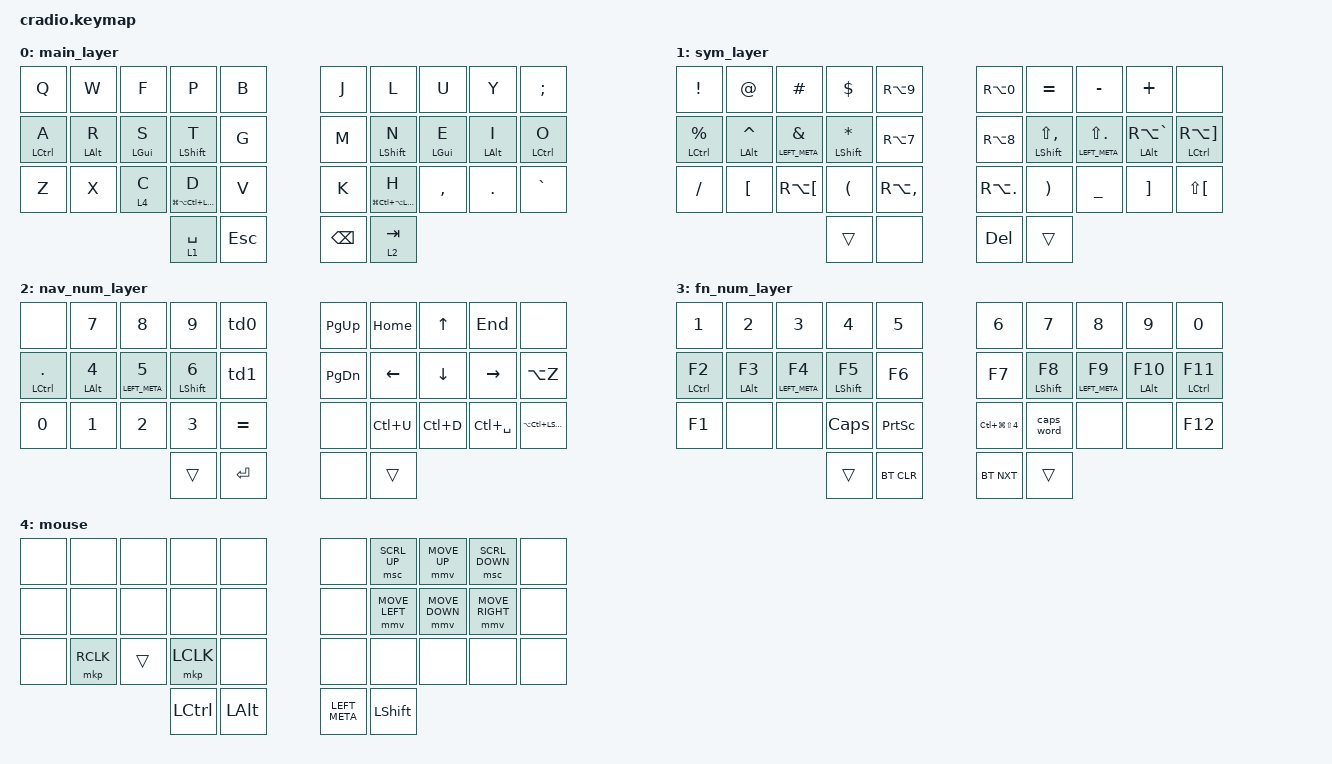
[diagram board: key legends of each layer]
// Copyright (c) 2022 The ZMK Contributors
// SPDX-License-Identifier: MIT

#define ZMK_POINTING_DEFAULT_MOVE_VAL 1500  // default: 600
#define ZMK_POINTING_DEFAULT_SCRL_VAL 20    // default: 10

#include <behaviors.dtsi>
#include <dt-bindings/zmk/bt.h>
#include <dt-bindings/zmk/keys.h>
#include <dt-bindings/zmk/pointing.h>

/ {
    behaviors {
        htl: hold_tap_left {
            compatible = "zmk,behavior-hold-tap";
            #binding-cells = <2>;
            flavor = "balanced";
            tapping-term-ms = <180>;
            quick-tap-ms = <150>;
            require-prior-idle-ms = <100>;
            bindings = <&kp>, <&kp>;

            hold-trigger-key-positions = <5 6 7 8 9 15 16 17 18 19 25 26 27 28 29>;
            hold-trigger-on-release;
        };

        htr: hold_tap_right {
            compatible = "zmk,behavior-hold-tap";
            #binding-cells = <2>;
            flavor = "balanced";
            tapping-term-ms = <180>;
            quick-tap-ms = <150>;
            require-prior-idle-ms = <100>;
            bindings = <&kp>, <&kp>;

            hold-trigger-key-positions = <0 1 2 3 4 10 11 12 13 14 20 21 22 23 24>;
            hold-trigger-on-release;
        };

        ltlr: layer_tap_left_right {
            compatible = "zmk,behavior-hold-tap";
            #binding-cells = <2>;
            flavor = "balanced";
            tapping-term-ms = <180>;
            quick-tap-ms = <150>;
            require-prior-idle-ms = <100>;
            bindings = <&mo>, <&kp>;
        };

        td0: tap_dance_plus_mult {
            compatible = "zmk,behavior-tap-dance";
            #binding-cells = <0>;
            tapping-term-ms = <180>;
            bindings = <&kp KP_PLUS>, <&kp KP_MULTIPLY>;
        };

        td1: tap_dance_minus_div {
            compatible = "zmk,behavior-tap-dance";
            #binding-cells = <0>;
            tapping-term-ms = <180>;
            bindings = <&kp KP_MINUS>, <&kp KP_DIVIDE>;
        };
    };

    conditional_layers {
        compatible = "zmk,conditional-layers";

        fn_num_layer {
            if-layers = <1 2>;
            then-layer = <3>;
        };
    };

    keymap {
        compatible = "zmk,keymap";

        main_layer {
            bindings = <
&kp Q         &kp W        &kp F        &kp P                          &kp B      &kp J     &kp L                          &kp U        &kp Y        &kp SEMICOLON
&htl LCTRL A  &htl LALT R  &htl LGUI S  &htl LSHFT T                   &kp G      &kp M     &htr LSHFT N                   &htr LGUI E  &htr LALT I  &htr LCTRL O
&kp Z         &kp X        &ltlr 4 C    &htl LG(LA(LC(LEFT_SHIFT))) D  &kp V      &kp K     &htr LG(LC(LA(LEFT_SHIFT))) H  &kp COMMA    &kp PERIOD   &kp GRAVE
                                        &ltlr 1 SPACE                  &kp ESC    &kp BSPC  &ltlr 2 TAB
            >;
        };

        sym_layer {
            bindings = <
&kp EXCL          &kp AT               &kp HASH              &kp DLLR              &kp RA(N9)       &kp RA(N0)      &kp EQUAL                  &kp MINUS                  &kp PLUS                 &none
&htl LCTRL PRCNT  &htl LEFT_ALT CARET  &htl LEFT_META AMPS   &htl LEFT_SHIFT STAR  &kp RA(N7)       &kp RA(N8)      &htr LEFT_SHIFT LS(COMMA)  &htr LEFT_META LS(PERIOD)  &htr LEFT_ALT RA(GRAVE)  &htr LCTRL RA(RIGHT_BRACKET)
&kp SLASH         &kp LEFT_BRACKET     &kp RA(LEFT_BRACKET)  &kp LPAR              &kp RA(COMMA)    &kp RA(PERIOD)  &kp RIGHT_PARENTHESIS      &kp UNDER                  &kp RIGHT_BRACKET        &kp LS(LEFT_BRACKET)
                                                             &trans                &none            &kp DELETE      &trans
            >;
        };

        nav_num_layer {
            bindings = <
&none           &kp N7        &kp N8             &kp N9              &td0         &kp PAGE_UP    &kp HOME   &kp UP     &kp END        &none
&htl LCTRL DOT  &htl LALT N4  &htl LEFT_META N5  &htl LEFT_SHIFT N6  &td1         &kp PAGE_DOWN  &kp LEFT   &kp DOWN   &kp RIGHT      &kp LA(Z)
&kp N0          &kp N1        &kp N2             &kp N3              &kp EQUAL    &none          &kp LC(U)  &kp LC(D)  &kp LC(SPACE)  &kp LA(LC(LEFT_SHIFT))
                                                 &trans              &kp ENTER    &none          &trans
            >;
        };

        fn_num_layer {
            bindings = <
&kp NUMBER_1          &kp N2            &kp N3             &kp N4              &kp N5             &kp N6                    &kp N7              &kp N8             &kp N9             &kp N0
&htl LEFT_CONTROL F2  &htl LEFT_ALT F3  &htl LEFT_META F4  &htl LEFT_SHIFT F5  &kp F6             &kp F7                    &htr LEFT_SHIFT F8  &htr LEFT_META F9  &htr LEFT_ALT F10  &htr LCTRL F11
&kp F1                &none             &none              &kp CAPSLOCK        &kp PRINTSCREEN    &kp LC(LG(LS(NUMBER_4)))  &caps_word          &none              &none              &kp F12
                                                           &trans              &bt BT_CLR         &bt BT_NXT                &trans
            >;
        };

        mouse {
            bindings = <
&none  &none      &none   &none      &none           &none          &msc SCRL_UP    &mmv MOVE_UP    &msc SCRL_DOWN   &none
&none  &none      &none   &none      &none           &none          &mmv MOVE_LEFT  &mmv MOVE_DOWN  &mmv MOVE_RIGHT  &none
&none  &mkp RCLK  &trans  &mkp LCLK  &none           &none          &none           &none           &none            &none
                          &kp LCTRL  &kp LEFT_ALT    &kp LEFT_META  &kp LEFT_SHIFT
            >;
        };
    };
};
